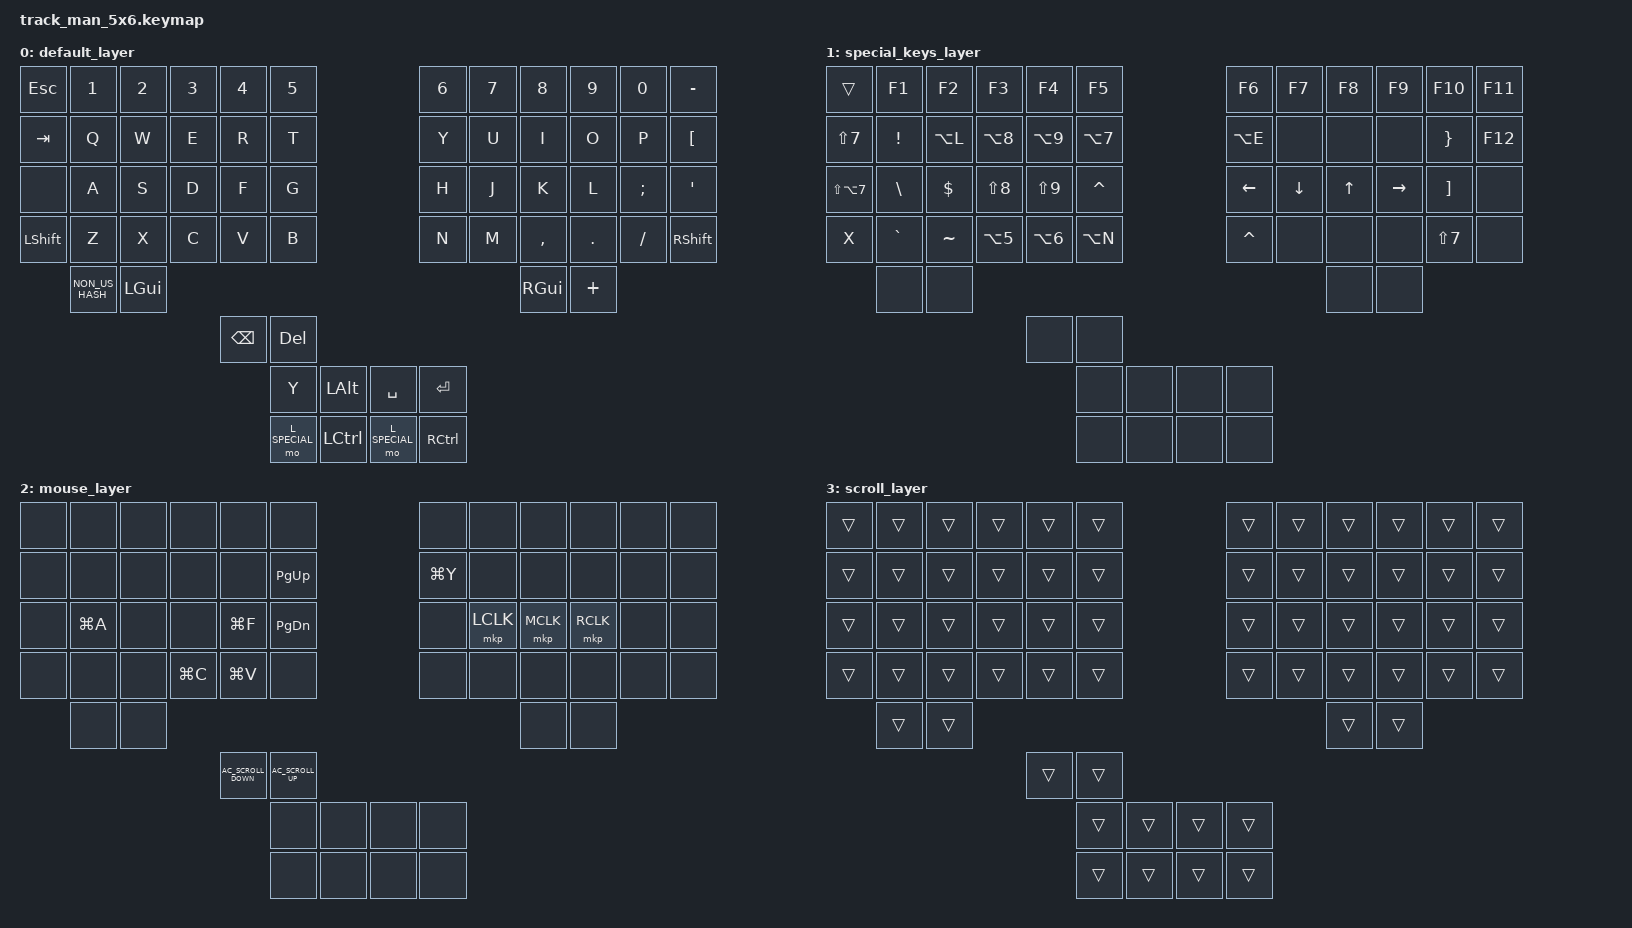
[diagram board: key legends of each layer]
#include <behaviors.dtsi>
#include <dt-bindings/zmk/keys.h>
#include <dt-bindings/zmk/bt.h>
#include <dt-bindings/zmk/outputs.h>
#include <dt-bindings/zmk/mouse.h>


#define DEFAULT 0
#define L_SPECIAL 1
#define L_MOUSE 2
#define L_SCROLL 3

/ {
    keymap {
        compatible = "zmk,keymap";

        default_layer {
// Commented layout is not actual layout.
// -------------------------------------------------------------------------------------------------------------------------
// |   ESC   |    1    |    2    |    3    |    4    |    5    |                   |    6    |    7    |    8    |    9    |    0    |  BSPC   |
// |   TAB   |    Q    |    W    |    E    |    R    |    T    |                   |    Y    |    U    |    I    |    O    |    P    |    \    |
// |  LALT   |    A    |    S    |    D    |    F    |    G    |                   |    H    |    J    |    K    |    L    |    ;    |    '    |
// |  LCTRL  |    Z    |    X    |    C    |    V    |    B    |                   |    N    |    M    |    ,    |    .    |    /    |  RALT   |
//                     |    [    |    ]    |                                                           |    -    |    =    |
//                               | MO lay 1| SPACE   |                   | ENTER   | MO lay 2|
//                                         |   TAB   |   HOME  |   END   |   DEL   |
//                                         |  Raise  |    ~    |   GUI   |  Lower  |
            bindings = <
&kp ESC    &kp N1     &kp N2    &kp N3     &kp N4     &kp N5                                      &kp N6     &kp N7     &kp N8     &kp N9     &kp N0         &kp MINUS
&kp TAB    &kp Q      &kp W     &kp E      &kp R      &kp T                                       &kp Y      &kp U      &kp I      &kp O      &kp P          &kp LBKT
&none      &kp A      &kp S     &kp D      &kp F      &kp G                                       &kp H      &kp J      &kp K      &kp L      &kp SEMI       &kp SQT
&kp LSHIFT &kp Z      &kp X     &kp C      &kp V      &kp B                                       &kp N      &kp M      &kp COMMA  &kp DOT    &kp FSLH       &kp RSHIFT
               &kp NON_US_HASH  &kp LGUI                                                                                &kp RGUI  &kp PLUS
                                           &kp BSPC   &kp DEL
                                                      &kp Y       &kp LALT            &kp SPACE   &kp RET
                                                      &mo L_SPECIAL  &kp LCTRL        &mo L_SPECIAL  &kp RCTRL
            >;
        };

        special_keys_layer {
            bindings = <
&trans         &kp F1     &kp F2    &kp F3     &kp F4     &kp F5                          &kp F6     &kp F7     &kp F8     &kp F9     &kp F10        &kp F11
&kp LS(N7)     &kp EXCL   &kp LA(L) &kp LA(N8) &kp LA(N9) &kp LA(N7)                      &kp LA(E)  &none      &none      &none      &kp RBRC       &kp F12
&kp LS(LA(N7)) &kp BSLH   &kp DLLR  &kp LS(N8) &kp LS(N9) &kp CARET                       &kp LEFT   &kp DOWN   &kp UP     &kp RIGHT  &kp RBKT       &none
&kp X          &kp GRAVE  &kp TILDE &kp LA(N5) &kp LA(N6) &kp LA(N)                       &kp CARET  &none      &none      &none      &kp LS(N7)     &none
                          &none     &none                                                                       &none      &none
                                           &none      &none
                                                      &none   &none         &none     &none
                                                      &none   &none         &none     &none
            >;
        };

        mouse_layer {
            bindings = <
&none      &none      &none    &none      &none        &none                            &none      &none      &none     &none      &none          &none
&none      &none      &none    &none      &none        &kp PG_UP                        &kp LG(Y)  &none      &none     &none      &none          &none
&none      &kp LG(A)  &none    &none      &kp LG(F)    &kp PG_DN                        &none      &mkp LCLK  &mkp MCLK &mkp RCLK  &none          &none
&none      &none      &none    &kp LG(C)  &kp LG(V)    &none                            &none      &none      &none     &none      &none          &none
                      &none    &none                                                                          &none     &none 
                                          &kp C_AC_SCROLL_DOWN  &kp C_AC_SCROLL_UP
                                                       &none    &none         &none     &none
                                                       &none    &none         &none     &none
            >;

        };

        scroll_layer {
            bindings = <
&trans     &trans     &trans    &trans     &trans     &trans                          &trans     &trans     &trans     &trans     &trans         &trans
&trans     &trans     &trans    &trans     &trans     &trans                          &trans     &trans     &trans     &trans     &trans         &trans
&trans     &trans     &trans    &trans     &trans     &trans                          &trans     &trans     &trans     &trans     &trans         &trans
&trans     &trans     &trans    &trans     &trans     &trans                          &trans     &trans     &trans     &trans     &trans         &trans
                      &trans    &trans                                                                      &trans     &trans
                                           &trans     &trans
                                                      &trans   &trans        &trans   &trans
                                                      &trans   &trans        &trans   &trans
            >;
        };


   };
};
